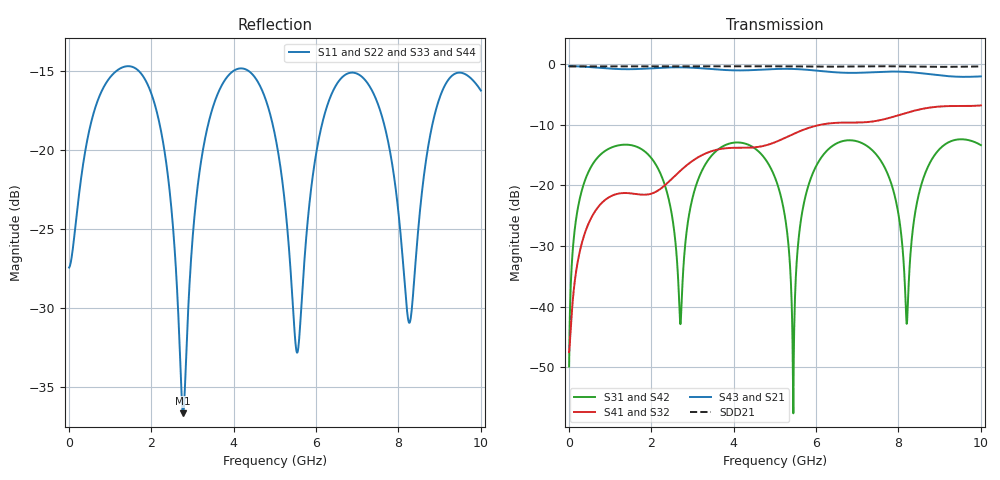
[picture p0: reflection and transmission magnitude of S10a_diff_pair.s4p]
! kicad_em_sim: S-parameters of 4 ports, openEMS
# Hz S RI R 50
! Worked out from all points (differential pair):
!   1000 points, 10 MHz to 10 GHz, reference 50 ohm
!   strongest paths, dB at 10 MHz, 2.51 GHz, 5.01 GHz, 7.51 GHz, 10 GHz:
!     S43: -0.4, -0.5, -0.8, -1.3, -2.0
!     S21: -0.4, -0.5, -0.8, -1.3, -2.0
!     S41: -47.5, -18.9, -12.9, -9.3, -6.8
!     S32: -47.5, -18.9, -12.9, -9.3, -6.8
!     S31: -49.8, -25.2, -18.8, -15.3, -13.4
!     S42: -49.8, -25.2, -18.8, -15.3, -13.4
!   taken as a pair (ports 3,1 in; 4,2 out), SDD21 dB: -0.4, -0.4, -0.4, -0.4, -0.4
!   lowest |S11| = -36.7 dB at 2.78 GHz (marker M1), VSWR 1.03, Z = 51.5 + j0.0414 ohm
!   |S11| at or under -10 dB: start of sweep to end of sweep
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1e7  -0.0424 0.00303  0.9603 -0.0113  0.00122 0.00298  0.00408 -0.00114
     0.9603 -0.0113  -0.0424 0.00303  0.00408 -0.00114  0.00122 0.00298
     0.00122 0.00298  0.00408 -0.00114  -0.0424 0.00303  0.9603 -0.0113
     0.00408 -0.00114  0.00122 0.00298  0.9603 -0.0113  -0.0424 0.00303
9.5e8  0.1374 0.0935  0.434 -0.8107  0.1828 0.0774  -0.0787 -0.00341
       0.434 -0.8107  0.1374 0.0935  -0.0787 -0.0034  0.1828 0.0774
       0.1828 0.0774  -0.0787 -0.0034  0.1374 0.0935  0.434 -0.8107
       -0.0787 -0.0034  0.1828 0.0774  0.434 -0.8107  0.1374 0.0935
2.78e9  0.0147 0.000402  -0.9377 -0.0481  0.00859 0.0185  0.000152 0.1387
        -0.9377 -0.0481  0.0147 0.000402  0.000152 0.1387  0.00859 0.0185
        0.00859 0.0185  0.000152 0.1387  0.0147 0.000402  -0.9377 -0.0481
        0.000152 0.1387  0.00859 0.0185  -0.9377 -0.0481  0.0147 0.000402
5.51e9  0.0219 -0.00949  0.8977 0.1434  0.00187 0.0174  0.0355 -0.2683
        0.8977 0.1434  0.0219 -0.00949  0.0355 -0.2683  0.00187 0.0174
        0.00187 0.0174  0.0355 -0.2683  0.0219 -0.00949  0.8977 0.1434
        0.0355 -0.2683  0.00187 0.0174  0.8977 0.1434  0.0219 -0.00949
7.26e9  0.1413 -0.0795  -0.1559 -0.8384  0.1863 -0.0939  -0.3158 0.1053
        -0.1559 -0.8384  0.1413 -0.0795  -0.3158 0.1053  0.1863 -0.0939
        0.1863 -0.0939  -0.3158 0.1053  0.1413 -0.0795  -0.1559 -0.8384
        -0.3158 0.1053  0.1863 -0.0939  -0.1559 -0.8384  0.1413 -0.0795
8.2e9  0.0262 -0.018  -0.8207 -0.2594  -0.00716 -0.000963  -0.1118 0.3805
       -0.8207 -0.2594  0.0262 -0.018  -0.1118 0.3805  -0.00716 -0.000963
       -0.00716 -0.000963  -0.1118 0.3805  0.0262 -0.018  -0.8207 -0.2594
       -0.1118 0.3805  -0.00716 -0.000963  -0.8207 -0.2594  0.0262 -0.018
1e10  0.1235 -0.0924  0.0701 0.7879  0.1952 -0.0892  0.447 -0.0902
      0.0701 0.7879  0.1235 -0.0924  0.447 -0.0902  0.1952 -0.0892
      0.1952 -0.0892  0.447 -0.0902  0.1235 -0.0924  0.0701 0.7879
      0.447 -0.0902  0.1952 -0.0892  0.0701 0.7879  0.1235 -0.0924
